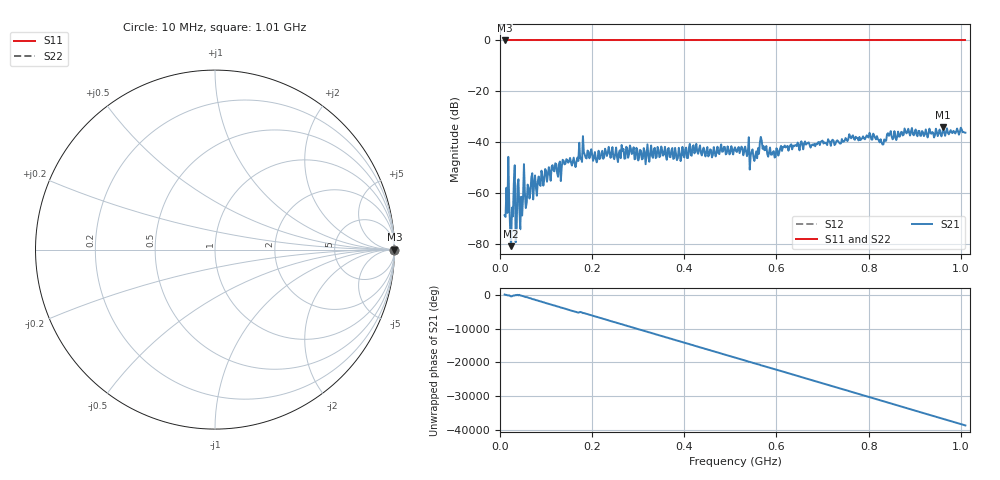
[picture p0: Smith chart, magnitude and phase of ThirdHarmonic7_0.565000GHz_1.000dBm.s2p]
! 8/17/2025 5:20:30 PM
! C:\ANRITSUVNA\TEMP\TEMP.S2P
! CHANNEL.1
! TR.MEASUREMENT
! RAW.DATA
! RF.CORRECTION.OFF
! AVERAGING.OFF
! IF.BANDWIDTH: 5KHZ
! SWEEPTYPE:  FREQ.SWEEP(Linear)
! Reference Plane Port Info
! PORT:  PORT1  PORT2
! DISTANCE:  0  m  0  m
! TIME:  0  s  0  s
! PHASE.OFFSET:  0  deg.  0  deg.
! LOSS:  0  dB  0  dB
! REF.LOSS:  0  dB  0  dB
! REF.FREQ:  0  Hz  0  Hz
! Power Info
! POWER:  -20  dBm  -20  dBm
! EFF.POWER:  -20  dBm  -20  dBm
! SOURCE.ATTEN:  0  dB  0  dB
! TEST.ATTEN:  0  dB  0  dB
# GHZ S RI R 50.0
! FREQ.GHZ  S11RE  S11IM  S21RE  S21IM  S12RE  S12IM  S22RE  S22IM
!; PortSelection: Port_12
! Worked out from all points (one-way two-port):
!   501 points, 10 MHz to 1.01 GHz, reference 50 ohm
!   highest |S21| = -34.27 dB at 962 MHz (marker M1); lowest = -81.0 dB at 24 MHz (marker M2)
!   lowest |S11| = 0.0 dB at 10 MHz (marker M3)
!   |S11| at or under -10 dB: nowhere
!   |S22| runs from 0.0 to 0.0 dB; largest |S21 - S12| = 1
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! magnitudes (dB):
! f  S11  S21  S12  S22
! 10 MHz  0.0  -68.8  0.0  0.0
! 16 MHz  0.0  -67.9  0.0  0.0
! 24 MHz  0.0  -81.0  0.0  0.0
! 28 MHz  0.0  -69.3  0.0  0.0
! 36 MHz  0.0  -75.7  0.0  0.0
! 38 MHz  0.0  -57.3  0.0  0.0
! 42 MHz  0.0  -66.3  0.0  0.0
! 46 MHz  0.0  -61.6  0.0  0.0
! 50 MHz  0.0  -62.1  0.0  0.0
! 60 MHz  0.0  -56.8  0.0  0.0
! 72 MHz  0.0  -62.6  0.0  0.0
! 76 MHz  0.0  -53.2  0.0  0.0
! 178 MHz  0.0  -47.9  0.0  0.0
! 344 MHz  0.0  -43.0  0.0  0.0
! 510 MHz  0.0  -42.1  0.0  0.0
! 554 MHz  0.0  -45.5  0.0  0.0
! 678 MHz  0.0  -41.0  0.0  0.0
! 762 MHz  0.0  -38.5  0.0  0.0
! 832 MHz  0.0  -40.9  0.0  0.0
! 844 MHz  0.0  -37.5  0.0  0.0
! 962 MHz  0.0  -34.3  0.0  0.0
! 1.01 GHz  0.0  -36.3  0.0  0.0
